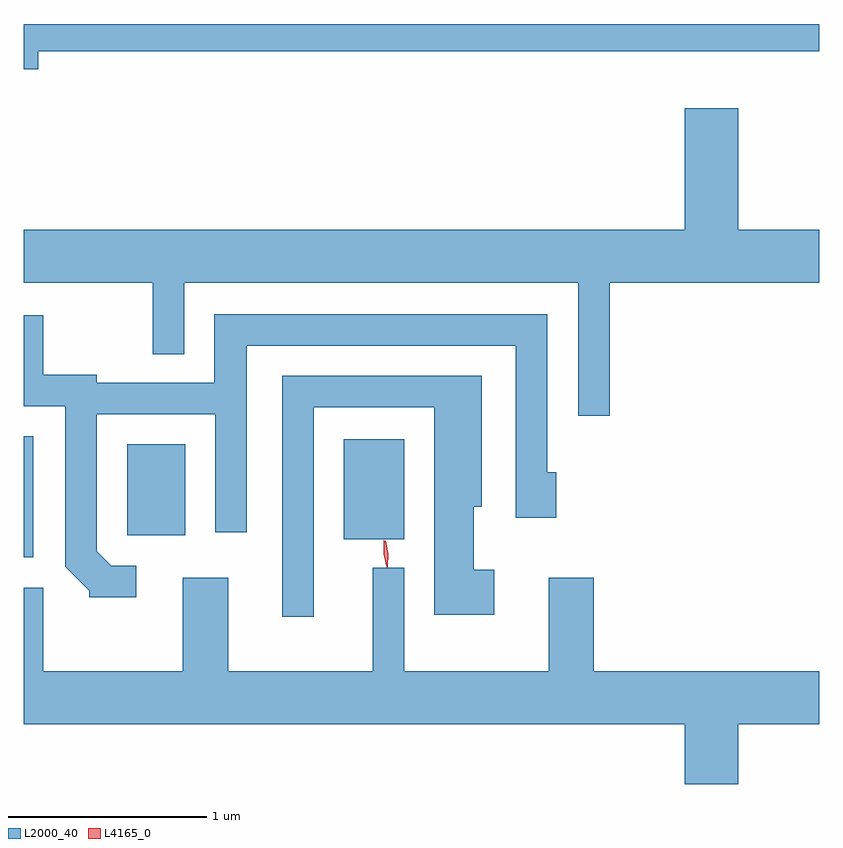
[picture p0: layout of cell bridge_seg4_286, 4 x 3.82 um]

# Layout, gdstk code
import gdstk
lib = gdstk.Library(unit=1e-6, precision=1e-09)
def R(c, l, rs):  # rectangles x0, y0, x1, y1
    for r in rs: c.add(gdstk.rectangle(r[:2], r[2:], *l))
def P(c, l, *ps):  # polygons
    for p in ps: c.add(gdstk.Polygon(p, *l))
L2000_40 = (2000, 40)
L4165_0 = (4165, 0)

bridge_seg4_286 = lib.new_cell('bridge_seg4_286')
R(bridge_seg4_286, L2000_40, [(511.452,1339.976,511.499,1340.584), (513.061,1340.066,513.364,1340.569), (511.971,1340.086,512.264,1340.544)])
P(bridge_seg4_286, L2000_40, [(511.524,1342.521),(515.452,1342.521),(515.452,1342.658),(511.452,1342.658),(511.452,1342.431),(511.524,1342.431)],
  [(514.399,1341.356),(515.452,1341.356),(515.452,1341.624),(515.044,1341.624),(515.044,1342.234),(514.776,1342.234),(514.776,1341.624),(511.452,1341.624),(511.452,1341.356),(512.101,1341.356),(512.101,1340.998),(512.259,1340.998),(512.259,1341.356),(514.241,1341.356),(514.241,1340.688),(514.399,1340.688)],
  [(512.018,1339.934),(511.892,1339.934),(511.819,1340.007),(511.819,1340.696),(512.416,1340.696),(512.416,1340.103),(512.574,1340.103),(512.574,1341.041),(513.926,1341.041),(513.926,1340.176),(514.129,1340.176),(514.129,1340.404),(514.084,1340.404),(514.084,1341.199),(512.411,1341.199),(512.411,1340.854),(511.819,1340.854),(511.819,1340.894),(511.549,1340.894),(511.549,1341.194),(511.452,1341.194),(511.452,1340.736),(511.661,1340.736),(511.661,1339.929),(511.781,1339.809),(511.781,1339.776),(512.018,1339.776)],
  [(512.909,1340.731),(513.516,1340.731),(513.516,1339.686),(513.819,1339.686),(513.819,1339.914),(513.714,1339.914),(513.714,1340.231),(513.754,1340.231),(513.754,1340.889),(512.751,1340.889),(512.751,1339.678),(512.909,1339.678)],
  [(515.044,1339.136),(515.452,1339.136),(515.452,1339.404),(514.319,1339.404),(514.319,1339.874),(514.091,1339.874),(514.091,1339.404),(513.364,1339.404),(513.364,1339.923),(513.206,1339.923),(513.206,1339.404),(512.479,1339.404),(512.479,1339.874),(512.251,1339.874),(512.251,1339.404),(511.549,1339.404),(511.549,1339.824),(511.452,1339.824),(511.452,1339.136),(514.776,1339.136),(514.776,1338.836),(515.044,1338.836)])
P(bridge_seg4_286, L4165_0, [(513.28,1339.928),(513.266,1339.993),(513.27,1340.06),(513.271,1340.06),(513.271,1340.06),(513.286,1339.995),(513.282,1339.928),(513.281,1339.928)],
  [(513.278,1339.924),(513.278,1339.925),(513.261,1339.992),(513.263,1340.062),(513.263,1340.063),(513.264,1340.062),(513.281,1339.995),(513.279,1339.925)])

lib.write_gds('bridge_seg4_286.gds')
